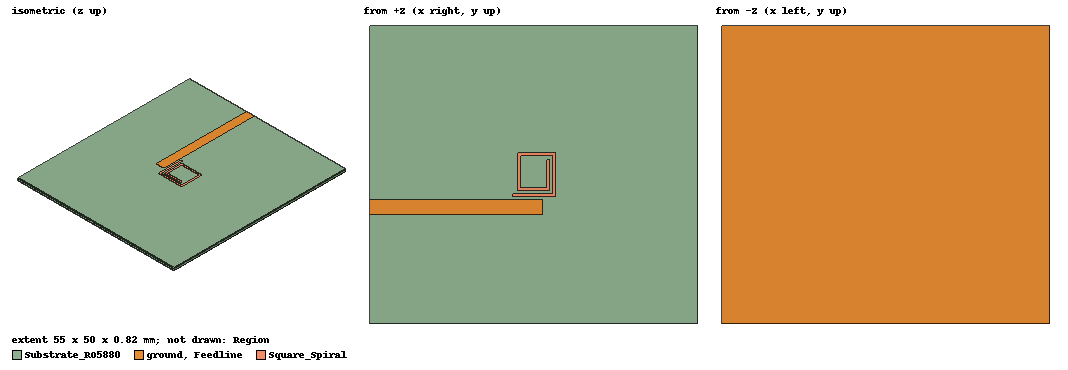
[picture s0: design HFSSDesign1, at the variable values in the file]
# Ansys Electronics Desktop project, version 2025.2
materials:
  vacuum: permittivity=1
  Rogers RT/duroid 5880 (tm): permittivity=2.2 dielectric_loss_tangent=0.0009
  copper: permeability=0.999991 conductivity=58000000
  air: permittivity=1.0006 permeability=1.0000004

design HFSSDesign1 (HFSS, HFSS Terminal Network, model units mm)
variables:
  a_spiral = 3.5mm
  z_spiral = 0.7675mm
  w_spiral = 0.5mm
  g_spiral = 0.5mm
  p_spiral = w_spiral + g_spiral
  t_cu = 0.035mm
  L_sub = 55mm
  h_sub = 0.75mm
  w_feed = 2.5mm
  g_cpl = 0.5mm
  L_cpl = 5mm
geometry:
  Substrate_RO5880 [Rogers RT/duroid 5880 (tm)] = box(corner=(-27.5mm, -25mm, 0mm), size=(55mm, 50mm, 0.75mm))
  ground [copper] = box(corner=(-27.5mm, -25mm, -0.035mm), size=(55mm, 50mm, 0.035mm))
  Square_Spiral [copper] = polyline(z=z_spiral, xy: (-a_spiral, -a_spiral) (a_spiral, -a_spiral) (a_spiral, a_spiral) (-a_spiral+p_spiral, a_spiral) (-a_spiral+p_spiral, -a_spiral+p_spiral) (a_spiral-p_spiral, -a_spiral+p_spiral) (a_spiral-p_spiral, a_spiral-p_spiral), section rectangle width=w_spiral height=t_cu)
  Feedline [copper] = box(corner=(-L_sub/2, -a_spiral-w_spiral/2-g_cpl -w_feed, h_sub), size=(L_sub/2-a_spiral+L_cpl, w_feed, t_cu))
  Port_Sheet = rectangle(corner=(-L_sub/2, -a_spiral-w_spiral/2-g_cpl-w_feed, 0mm), y_size=w_feed, z_size=h_sub)
  Region [air] = region(absolute_offset=25mm on all sides)
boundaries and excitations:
  Rad1: Radiation Objects=Region
  Feedline_T1: Terminal port=Port1 Edges=Feedline.edge(at (-27.5, -5.5, 0.75)) TerminalResistance=50ohm
  Port1: Lumped Port Faces=Port_Sheet.face LumpedPortType=Terminal Impedance=50ohm
  reference conductors: ground
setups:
  Setup1: HfssDriven Frequency=2.87GHz MaxDeltaS=0.02 MaximumPasses=15 MinimumPasses=2 MinimumConvergedPasses=2 PercentRefinement=30 BasisOrder=1 PortAccuracy=2 DrivenSolverType="Direct Solver"
    sweep Sweep: 2GHz to 4GHz, 401 points; Type=Fast
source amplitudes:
  Port1:1: 1V 0deg
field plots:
  Mag_Jsurf1: Jsurf over Square_Spiral.face(all 16) on Setup1 : LastAdaptive at Freq=2.87GHz Phase=0deg
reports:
  Terminal S Parameter Plot1: dB(St(Feedline_T1,Feedline_T1)) vs Freq on Setup1 : Sweep
  Terminal S Parameter Plot2: dB(St(Feedline_T1,Feedline_T1)) vs Freq on Setup1 : Sweep
